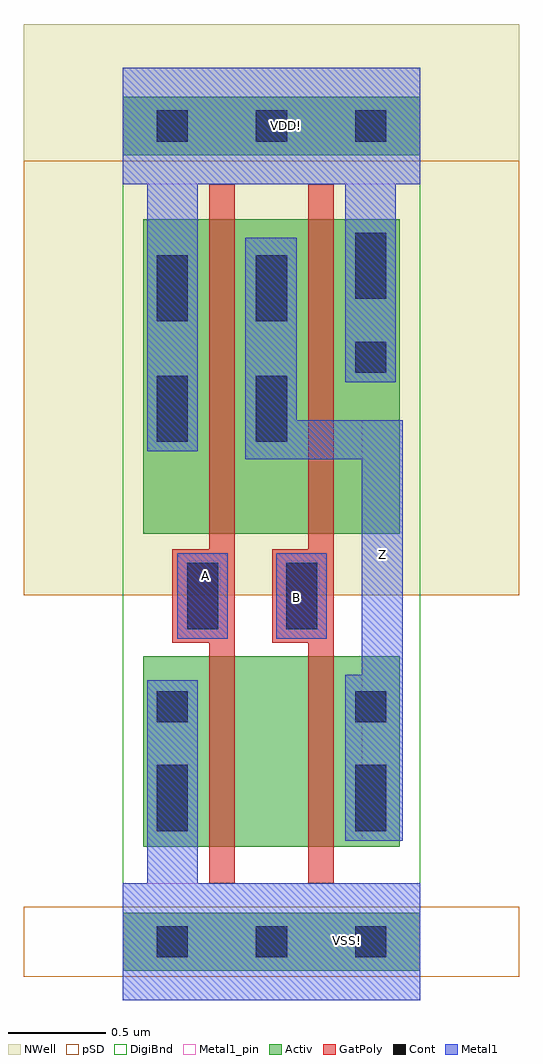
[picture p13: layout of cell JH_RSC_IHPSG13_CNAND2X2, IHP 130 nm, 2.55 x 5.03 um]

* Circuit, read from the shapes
.subckt JH_RSC_IHPSG13_CNAND2X2 A B VDD! VSS! Z
XM1 n1 A VSS! VSS! sg13_lv_nmos w=0.98u l=0.13u
XM2 Z B n1 VSS! sg13_lv_nmos w=0.98u l=0.13u
XM3 Z A VDD! VDD! sg13_lv_pmos w=1.62u l=0.13u
XM4 VDD! B Z VDD! sg13_lv_pmos w=1.62u l=0.13u
.ends

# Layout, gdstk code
import gdstk
lib = gdstk.Library(unit=1e-6, precision=1e-09)
def R(c, l, rs):  # rectangles x0, y0, x1, y1
    for r in rs: c.add(gdstk.rectangle(r[:2], r[2:], *l))
def A(c, l, x, y, w, h, nx, ny, dx, dy):  # array of equal rectangles
    R(c, l, [(x+i*dx, y+j*dy, x+i*dx+w, y+j*dy+h) for i in range(nx) for j in range(ny)])
def P(c, l, *ps):  # polygons
    for p in ps: c.add(gdstk.Polygon(p, *l))
Activ = (1, 0)
GatPoly = (5, 0)
Cont = (6, 0)
Metal1 = (8, 0)
Metal1_pin = (8, 2)
pSD = (14, 0)
DigiBnd = (16, 0)
NWell = (31, 0)

jh_rsc_ihpsg13_cnand2x2 = lib.new_cell('JH_RSC_IHPSG13_CNAND2X2')
R(jh_rsc_ihpsg13_cnand2x2, Activ, [(0,-0.15,1.53,0.15), (0.105,0.49,1.425,1.47), (0.105,2.1,1.425,3.72), (0,4.05,1.53,4.35)])
P(jh_rsc_ihpsg13_cnand2x2, GatPoly, [(0.445,0.3),(0.445,1.54),(0.255,1.54),(0.255,2.02),(0.445,2.02),(0.445,3.9),(0.575,3.9),(0.575,0.3)],
  [(0.955,0.3),(0.955,1.54),(0.77,1.54),(0.77,2.02),(0.955,2.02),(0.955,3.9),(1.085,3.9),(1.085,0.3)])
A(jh_rsc_ihpsg13_cnand2x2, Cont, 0.175, -0.08, 0.16, 0.16, 3, 2, 0.51, 4.2)
R(jh_rsc_ihpsg13_cnand2x2, Cont, [(0.175,0.57,0.335,0.91), (1.195,0.57,1.355,0.91), (0.175,1.13,0.335,1.29), (1.195,1.13,1.355,1.29), (0.33,1.61,0.49,1.95), (0.84,1.61,1,1.95), (0.175,2.575,0.335,2.915), (0.685,2.575,0.845,2.915), (1.195,2.93,1.355,3.09), (0.175,3.195,0.335,3.535), (0.685,3.195,0.845,3.535), (1.195,3.31,1.355,3.65)])
R(jh_rsc_ihpsg13_cnand2x2, Metal1, [(0.28,1.56,0.54,2), (0.79,1.56,1.05,2)])
P(jh_rsc_ihpsg13_cnand2x2, Metal1, [(1.145,0.52),(1.145,1.375),(1.23,1.375),(1.23,2.485),(0.63,2.485),(0.63,3.625),(0.895,3.625),(0.895,2.685),(1.44,2.685),(1.44,0.52)],
  [(0.125,2.525),(0.125,3.9),(0,3.9),(0,4.5),(1.53,4.5),(1.53,3.9),(1.405,3.9),(1.405,2.88),(1.145,2.88),(1.145,3.9),(0.385,3.9),(0.385,2.525)],
  [(0,-0.3),(0,0.3),(0.125,0.3),(0.125,1.345),(0.385,1.345),(0.385,0.3),(1.53,0.3),(1.53,-0.3)])
R(jh_rsc_ihpsg13_cnand2x2, Metal1_pin, [(0,-0.3,1.53,0.3), (1.23,0.52,1.44,2.685), (0.28,1.56,0.54,2), (0.79,1.56,1.05,2), (0,3.9,1.53,4.5)])
R(jh_rsc_ihpsg13_cnand2x2, pSD, [(-0.51,-0.18,2.04,0.18), (-0.51,1.785,2.04,4.02)])
R(jh_rsc_ihpsg13_cnand2x2, DigiBnd, [(0,-0.3,1.53,4.5)])
R(jh_rsc_ihpsg13_cnand2x2, NWell, [(-0.51,1.785,2.04,4.725)])
jh_rsc_ihpsg13_cnand2x2.add(gdstk.Label('A', (0.425,1.885), layer=8, texttype=2))
jh_rsc_ihpsg13_cnand2x2.add(gdstk.Label('B', (0.895,1.77), layer=8, texttype=2))
jh_rsc_ihpsg13_cnand2x2.add(gdstk.Label('Z', (1.335,1.995), layer=8, texttype=2))
jh_rsc_ihpsg13_cnand2x2.add(gdstk.Label('VDD!', (0.84,4.2), layer=8, texttype=2))
jh_rsc_ihpsg13_cnand2x2.add(gdstk.Label('VSS!', (1.155,0.005), layer=8, texttype=2))

lib.write_gds('JH_RSC_IHPSG13_CNAND2X2.gds')
